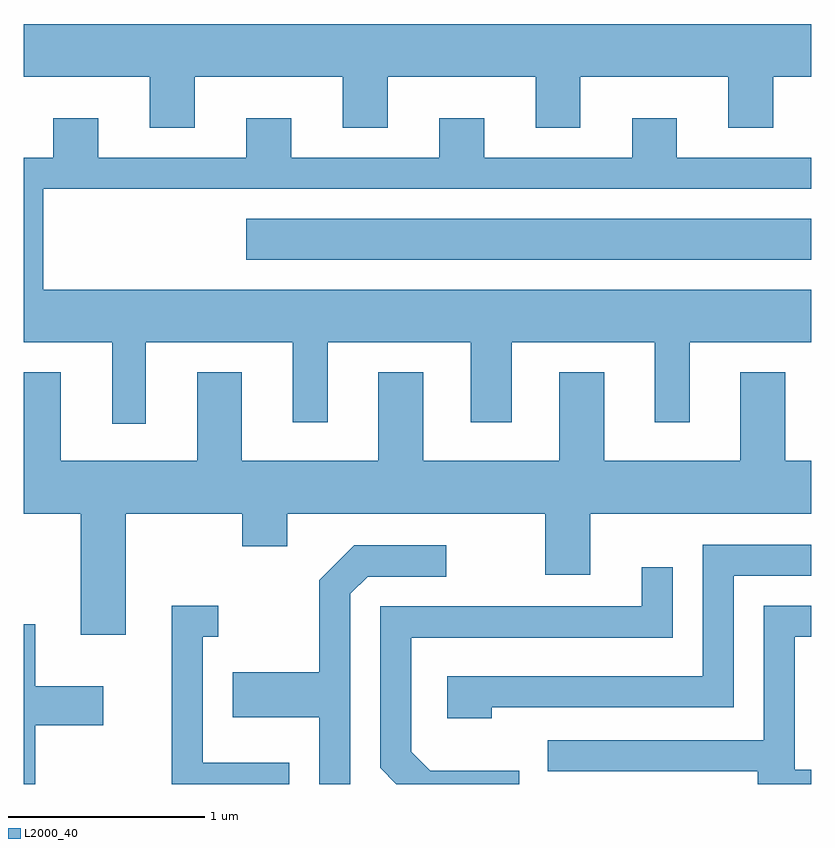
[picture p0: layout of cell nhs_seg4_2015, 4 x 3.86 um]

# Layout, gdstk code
import gdstk
lib = gdstk.Library(unit=1e-6, precision=1e-09)
def R(c, l, rs):  # rectangles x0, y0, x1, y1
    for r in rs: c.add(gdstk.rectangle(r[:2], r[2:], *l))
def P(c, l, *ps):  # polygons
    for p in ps: c.add(gdstk.Polygon(p, *l))
L2000_40 = (2000, 40)

nhs_seg4_2015 = lib.new_cell('nhs_seg4_2015')
R(nhs_seg4_2015, L2000_40, [(244.741,1342.646,247.611,1342.854)])
P(nhs_seg4_2015, L2000_40, [(244.479,1343.576),(245.231,1343.576),(245.231,1343.316),(245.459,1343.316),(245.459,1343.576),(246.211,1343.576),(246.211,1343.316),(246.439,1343.316),(246.439,1343.576),(247.191,1343.576),(247.191,1343.316),(247.419,1343.316),(247.419,1343.576),(247.611,1343.576),(247.611,1343.844),(243.611,1343.844),(243.611,1343.576),(244.251,1343.576),(244.251,1343.316),(244.479,1343.316)],
  [(244.229,1342.226),(244.976,1342.226),(244.976,1341.821),(245.154,1341.821),(245.154,1342.226),(245.881,1342.226),(245.881,1341.821),(246.089,1341.821),(246.089,1342.226),(246.816,1342.226),(246.816,1341.821),(246.994,1341.821),(246.994,1342.226),(247.611,1342.226),(247.611,1342.494),(243.709,1342.494),(243.709,1343.006),(247.611,1343.006),(247.611,1343.164),(246.929,1343.164),(246.929,1343.364),(246.701,1343.364),(246.701,1343.164),(245.949,1343.164),(245.949,1343.364),(245.721,1343.364),(245.721,1343.164),(244.969,1343.164),(244.969,1343.364),(244.741,1343.364),(244.741,1343.164),(243.989,1343.164),(243.989,1343.364),(243.761,1343.364),(243.761,1343.164),(243.611,1343.164),(243.611,1342.226),(244.061,1342.226),(244.061,1341.813),(244.229,1341.813)],
  [(244.129,1341.356),(244.721,1341.356),(244.721,1341.191),(244.949,1341.191),(244.949,1341.356),(246.261,1341.356),(246.261,1341.046),(246.489,1341.046),(246.489,1341.356),(247.611,1341.356),(247.611,1341.624),(247.479,1341.624),(247.479,1342.074),(247.251,1342.074),(247.251,1341.624),(246.559,1341.624),(246.559,1342.074),(246.331,1342.074),(246.331,1341.624),(245.639,1341.624),(245.639,1342.074),(245.411,1342.074),(245.411,1341.624),(244.719,1341.624),(244.719,1342.074),(244.491,1342.074),(244.491,1341.624),(243.799,1341.624),(243.799,1342.074),(243.611,1342.074),(243.611,1341.356),(243.901,1341.356),(243.901,1340.741),(244.129,1340.741)],
  [(245.989,1340.371),(247.219,1340.371),(247.219,1341.041),(247.611,1341.041),(247.611,1341.199),(247.061,1341.199),(247.061,1340.529),(245.761,1340.529),(245.761,1340.316),(245.989,1340.316)],
  [(245.269,1340.949),(245.357,1341.036),(245.758,1341.036),(245.758,1341.194),(245.289,1341.194),(245.111,1341.017),(245.111,1340.549),(244.671,1340.549),(244.671,1340.321),(245.111,1340.321),(245.111,1339.982),(245.269,1339.982)],
  [(246.129,1340.049),(245.677,1340.049),(245.579,1340.147),(245.579,1340.726),(246.909,1340.726),(246.909,1341.083),(246.751,1341.083),(246.751,1340.884),(245.421,1340.884),(245.421,1340.064),(245.503,1339.982),(246.129,1339.982)],
  [(244.959,1340.089),(244.519,1340.089),(244.519,1340.731),(244.598,1340.731),(244.598,1340.889),(244.361,1340.889),(244.361,1339.982),(244.959,1339.982)],
  [(247.611,1340.054),(247.529,1340.054),(247.529,1340.731),(247.611,1340.731),(247.611,1340.889),(247.371,1340.889),(247.371,1340.204),(246.273,1340.204),(246.273,1340.046),(247.341,1340.046),(247.341,1339.982),(247.611,1339.982)],
  [(243.669,1340.281),(244.014,1340.281),(244.014,1340.479),(243.669,1340.479),(243.669,1340.794),(243.611,1340.794),(243.611,1339.982),(243.669,1339.982)])

lib.write_gds('nhs_seg4_2015.gds')
